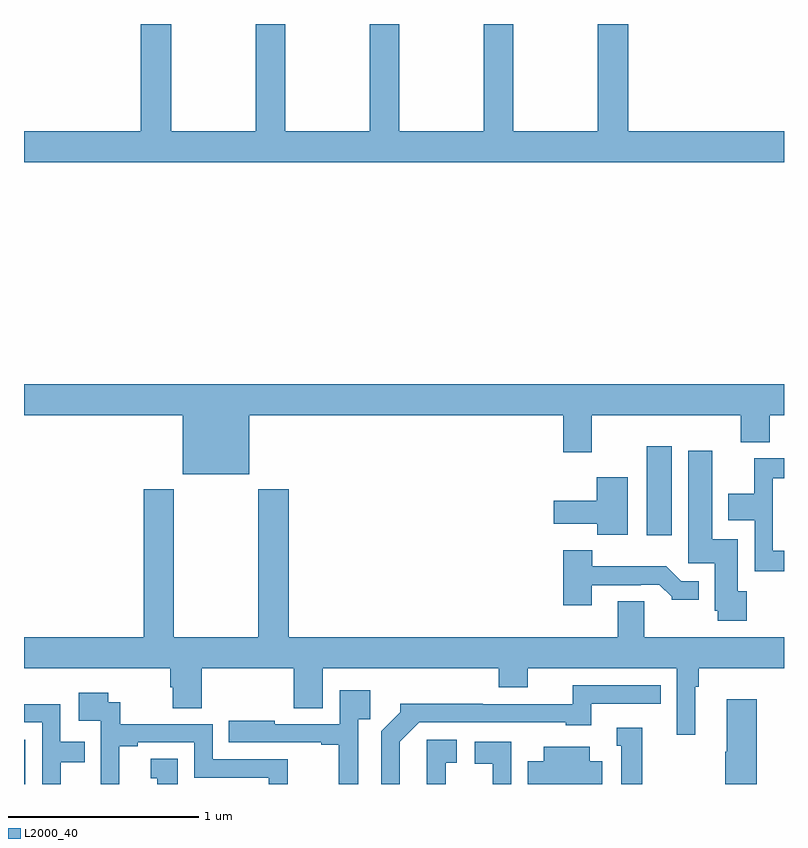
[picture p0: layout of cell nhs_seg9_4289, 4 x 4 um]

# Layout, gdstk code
import gdstk
lib = gdstk.Library(unit=1e-6, precision=1e-09)
def R(c, l, rs):  # rectangles x0, y0, x1, y1
    for r in rs: c.add(gdstk.rectangle(r[:2], r[2:], *l))
def P(c, l, *ps):  # polygons
    for p in ps: c.add(gdstk.Polygon(p, *l))
L2000_40 = (2000, 40)

nhs_seg9_4289 = lib.new_cell('nhs_seg9_4289')
R(nhs_seg9_4289, L2000_40, [(357,1174.5,357.006,1174.734), (360.278,1175.808,360.409,1176.277)])
P(nhs_seg9_4289, L2000_40, [(361,1177.936),(360.179,1177.936),(360.179,1178.5),(360.019,1178.5),(360.019,1177.936),(359.574,1177.936),(359.574,1178.5),(359.419,1178.5),(359.419,1177.936),(358.974,1177.936),(358.974,1178.5),(358.819,1178.5),(358.819,1177.936),(358.374,1177.936),(358.374,1178.5),(358.219,1178.5),(358.219,1177.936),(357.774,1177.936),(357.774,1178.5),(357.614,1178.5),(357.614,1177.936),(357,1177.936),(357,1177.772),(361,1177.772)],
  [(358.186,1176.44),(359.837,1176.44),(359.837,1176.246),(359.989,1176.246),(359.989,1176.44),(360.773,1176.44),(360.773,1176.299),(360.925,1176.299),(360.925,1176.44),(361,1176.44),(361,1176.604),(357,1176.604),(357,1176.44),(357.836,1176.44),(357.836,1176.131),(358.186,1176.131)],
  [(360.804,1175.514),(360.757,1175.514),(360.757,1175.788),(360.622,1175.788),(360.622,1176.253),(360.497,1176.253),(360.497,1175.661),(360.635,1175.661),(360.635,1175.412),(360.652,1175.412),(360.652,1175.358),(360.804,1175.358)],
  [(361,1175.727),(360.942,1175.727),(360.942,1176.11),(361,1176.11),(361,1176.214),(360.844,1176.214),(360.844,1176.028),(360.707,1176.028),(360.707,1175.888),(360.846,1175.888),(360.846,1175.619),(361,1175.619)],
  [(360.178,1176.115),(360.014,1176.115),(360.014,1175.992),(359.787,1175.992),(359.787,1175.87),(360.016,1175.87),(360.016,1175.813),(360.178,1175.813)],
  [(360.532,1175.012),(360.551,1175.012),(360.551,1175.108),(361,1175.108),(361,1175.272),(360.265,1175.272),(360.265,1175.462),(360.125,1175.462),(360.125,1175.272),(358.394,1175.272),(358.394,1176.052),(358.234,1176.052),(358.234,1175.272),(357.789,1175.272),(357.789,1176.052),(357.629,1176.052),(357.629,1175.272),(357,1175.272),(357,1175.108),(357.77,1175.108),(357.77,1175.01),(357.782,1175.01),(357.782,1174.9),(357.935,1174.9),(357.935,1175.108),(358.421,1175.108),(358.421,1174.9),(358.573,1174.9),(358.573,1175.108),(359.498,1175.108),(359.498,1175.009),(359.65,1175.009),(359.65,1175.108),(360.435,1175.108),(360.435,1174.758),(360.532,1174.758)],
  [(359.989,1175.547),(360.245,1175.547),(360.245,1175.55),(360.344,1175.55),(360.408,1175.486),(360.408,1175.471),(360.55,1175.471),(360.55,1175.568),(360.459,1175.568),(360.381,1175.647),(359.992,1175.647),(359.992,1175.731),(359.837,1175.731),(359.837,1175.442),(359.989,1175.442)],
  [(358.978,1174.723),(359.079,1174.824),(359.85,1174.824),(359.85,1174.808),(359.986,1174.808),(359.986,1174.923),(360.35,1174.923),(360.35,1175.019),(359.887,1175.019),(359.887,1174.92),(359.414,1174.92),(359.414,1174.922),(358.98,1174.922),(358.98,1174.877),(358.881,1174.778),(358.881,1174.5),(358.978,1174.5)],
  [(358.758,1174.841),(358.823,1174.841),(358.823,1174.993),(358.662,1174.993),(358.662,1174.815),(358.321,1174.815),(358.321,1174.834),(358.078,1174.834),(358.078,1174.719),(358.565,1174.719),(358.565,1174.707),(358.657,1174.707),(358.657,1174.5),(358.758,1174.5)],
  [(357.502,1174.699),(357.598,1174.699),(357.598,1174.719),(357.897,1174.719),(357.897,1174.533),(358.287,1174.533),(358.287,1174.5),(358.388,1174.5),(358.388,1174.629),(357.993,1174.629),(357.993,1174.815),(357.506,1174.815),(357.506,1174.929),(357.444,1174.929),(357.444,1174.981),(357.288,1174.981),(357.288,1174.833),(357.405,1174.833),(357.405,1174.529),(357.404,1174.529),(357.404,1174.5),(357.502,1174.5)],
  [(360.857,1174.945),(360.698,1174.945),(360.698,1174.67),(360.691,1174.67),(360.691,1174.5),(360.857,1174.5)],
  [(357.193,1174.614),(357.32,1174.614),(357.32,1174.722),(357.192,1174.722),(357.192,1174.92),(357,1174.92),(357,1174.824),(357.096,1174.824),(357.096,1174.5),(357.193,1174.5)],
  [(360.253,1174.795),(360.119,1174.795),(360.119,1174.701),(360.144,1174.701),(360.144,1174.5),(360.253,1174.5)],
  [(359.22,1174.611),(359.278,1174.611),(359.278,1174.732),(359.12,1174.732),(359.12,1174.5),(359.22,1174.5)],
  [(359.565,1174.722),(359.373,1174.722),(359.373,1174.606),(359.467,1174.606),(359.467,1174.5),(359.565,1174.5)],
  [(360.043,1174.621),(359.977,1174.621),(359.977,1174.696),(359.735,1174.696),(359.735,1174.621),(359.65,1174.621),(359.65,1174.5),(360.043,1174.5)],
  [(357.808,1174.634),(357.668,1174.634),(357.668,1174.531),(357.701,1174.531),(357.701,1174.5),(357.808,1174.5)])

lib.write_gds('nhs_seg9_4289.gds')
